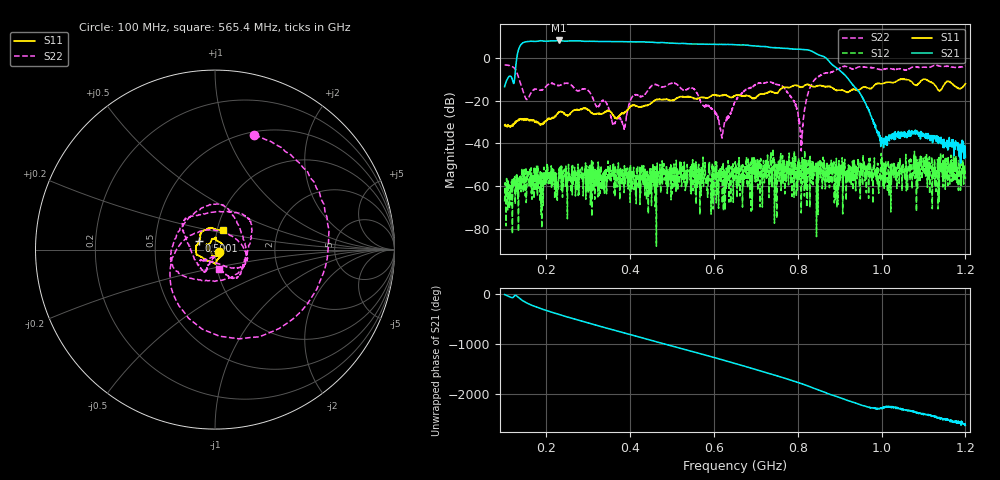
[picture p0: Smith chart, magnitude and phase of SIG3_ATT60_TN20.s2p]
# Hz S DB R 50
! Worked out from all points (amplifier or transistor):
!   1601 points, 100 MHz to 1.2 GHz, reference 50 ohm
!   highest |S21| = 8.1 dB at 229.2 MHz (marker M1)
!   |S21| within 3 dB of that: 135.9 MHz to 727.8 MHz (591.9 MHz wide, 137 % of centre)
!   unconditionally stable (mu >= 1): start of sweep to end of sweep
!   at 282.9 MHz: K = 99.67, MAG = 8.0 dB, |S12| = -54.1 dB
!   at 650 MHz: K = 141.73, MAG = 6.2 dB, |S12| = -55.3 dB
!   at 1.2 GHz: K = 39442.33, MAG = -44.0 dB, |S12| = -56.6 dB
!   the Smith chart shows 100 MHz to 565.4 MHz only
!   S11 on the Smith chart (normalised r, x): 100 MHz: 1.05, -0.03; 500.1 MHz: 0.83, +0.08; 565.4 MHz: 1.07, +0.23
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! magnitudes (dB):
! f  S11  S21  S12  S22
! 100 MHz  -31.5  -13.5  -67.1  -3.4
! 121.3 MHz  -30.7  -12.0  -56.5  -4.5
! 142.6 MHz  -28.9  6.8  -57.8  -14.7
! 229.2 MHz  -25.6  8.1  -55.2  -13.1
! 283.6 MHz  -24.2  7.8  -56.9  -14.7
! 383.9 MHz  -26.2  7.5  -55.6  -32.5
! 406.6 MHz  -22.1  7.4  -56.5  -17.7
! 467.1 MHz  -19.4  7.0  -52.9  -13.0
! 500.1 MHz  -19.9  6.8  -63.6  -11.9
! 565.4 MHz  -18.6  6.4  -52.0  -19.2
! 618.4 MHz  -17.6  6.2  -54.6  -36.3
! 650 MHz  -17.6  6.1  -55.3  -20.7
! 703.6 MHz  -17.7  5.4  -46.9  -12.1
! 759.3 MHz  -14.7  4.5  -44.7  -12.9
! 792.3 MHz  -12.9  4.0  -50.5  -20.3
! 807.4 MHz  -13.9  3.9  -52.0  -38.6
! 833.6 MHz  -13.2  3.1  -52.6  -12.1
! 915.4 MHz  -16.2  -8.7  -66.5  -4.1
! 999.9 MHz  -12.2  -37.3  -51.6  -5.6
! 1.017 GHz  -11.4  -38.5  -50.9  -5.0
! 1.081 GHz  -12.9  -35.2  -46.1  -4.2
! 1.2 GHz  -12.1  -46.6  -56.6  -3.8
